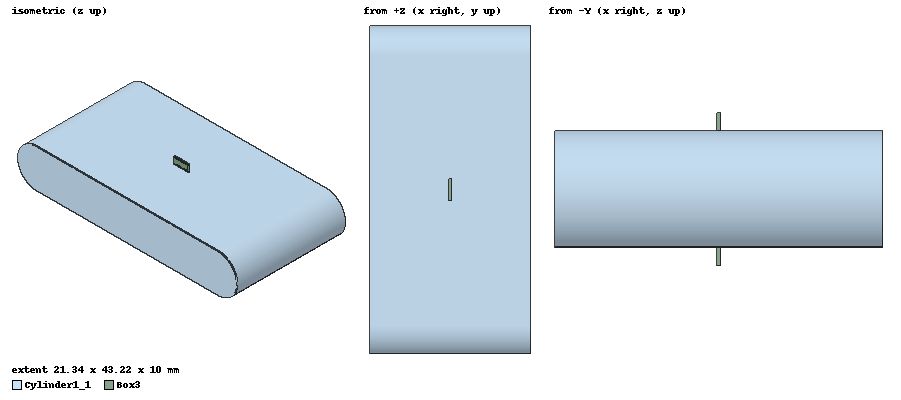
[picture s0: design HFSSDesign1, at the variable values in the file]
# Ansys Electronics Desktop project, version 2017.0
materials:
  vacuum: permittivity=1
  sapphire: permittivity=10

design HFSSDesign1 (HFSS, Eigenmode, model units mm)
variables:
  YSIZE = 1mm
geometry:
  Cylinder1 = cylinder(axis=Z, base_centre=(0mm, 0mm, 0mm), radius=3.81mm, height=21.336mm)
  Box2 = box(corner=(0mm, 0mm, -3.81mm), size=(21.336mm, 35.6mm, 7.62mm))
  Cylinder1.rotate(axis=Y, angle=90deg)
  Cylinder1_1 [vacuum] = Cylinder1.duplicate_along_line(step=(0mm, 35.6mm, 0mm), total=2)
  Box3 [sapphire] = box(corner=(10.518mm, 16.3mm, -5mm), size=(0.3mm, 3mm, 10mm))
  Cylinder1_1.unite(Box2, Cylinder1)
  Box3_1 = Box3.copy()
  Cylinder1_1.subtract(Box3_1)
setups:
  Setup1: HfssEigen MinimumFrequency=3.47062GHz NumModes=5 MaxDeltaFreq=10 ConvergeOnRealFreq=false MaximumPasses=3 MinimumPasses=1 MinimumConvergedPasses=1 PercentRefinement=30 BasisOrder=1
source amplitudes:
  #-10:1: 1 0deg
  #-10:2..#-10:5: 0 0deg
